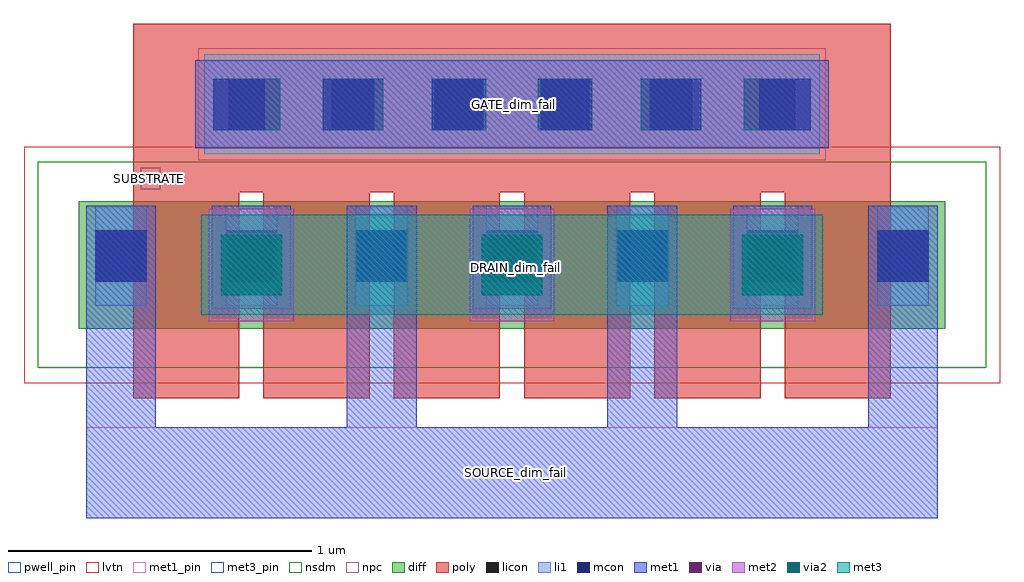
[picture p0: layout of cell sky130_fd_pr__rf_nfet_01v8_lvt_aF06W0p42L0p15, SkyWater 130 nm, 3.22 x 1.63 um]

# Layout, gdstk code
import gdstk
lib = gdstk.Library(unit=1e-6, precision=1e-09)
def R(c, l, rs):  # rectangles x0, y0, x1, y1
    for r in rs: c.add(gdstk.rectangle(r[:2], r[2:], *l))
def A(c, l, x, y, w, h, nx, ny, dx, dy):  # array of equal rectangles
    R(c, l, [(x+i*dx, y+j*dy, x+i*dx+w, y+j*dy+h) for i in range(nx) for j in range(ny)])
def P(c, l, *ps):  # polygons
    for p in ps: c.add(gdstk.Polygon(p, *l))
diff = (65, 20)
poly = (66, 20)
licon = (66, 44)
li1 = (67, 20)
mcon = (67, 44)
met1_pin = (68, 16)
met1 = (68, 20)
via = (68, 44)
met2 = (69, 20)
via2 = (69, 44)
met3_pin = (70, 16)
met3 = (70, 20)
nsdm = (93, 44)
npc = (95, 20)
pwell_pin = (122, 16)
lvtn = (125, 44)

sky130_fd_pr__rf_nfet_01 = lib.new_cell('sky130_fd_pr__rf_nfet_01v8_lvt_aF06W0p42L0p15')
A(sky130_fd_pr__rf_nfet_01, diff, 0.18, 0.18, 0.28, 0.42, 3, 1, 0.43, 0)
A(sky130_fd_pr__rf_nfet_01, diff, 0.21, 0.18, 0.25, 0.42, 4, 1, 0.86, 0)
A(sky130_fd_pr__rf_nfet_01, diff, 0.46, 0.18, 0.15, 0.42, 6, 1, 0.43, 0)
A(sky130_fd_pr__rf_nfet_01, diff, 1.04, 0.18, 0.28, 0.42, 3, 1, 0.43, 0)
A(sky130_fd_pr__rf_nfet_01, diff, 1.9, 0.18, 0.28, 0.42, 3, 1, 0.43, 0)
R(sky130_fd_pr__rf_nfet_01, diff, [(2.76,0.18,3.04,0.6)])
P(sky130_fd_pr__rf_nfet_01, poly, [(0.36,-0.05),(0.36,1.185),(2.86,1.185),(2.86,-0.05),(2.51,-0.05),(2.51,0.63),(2.43,0.63),(2.43,-0.05),(2.08,-0.05),(2.08,0.63),(2,0.63),(2,-0.05),(1.65,-0.05),(1.65,0.63),(1.57,0.63),(1.57,-0.05),(1.22,-0.05),(1.22,0.63),(1.14,0.63),(1.14,-0.05),(0.79,-0.05),(0.79,0.63),(0.71,0.63),(0.71,-0.05)])
A(sky130_fd_pr__rf_nfet_01, licon, 0.235, 0.335, 0.17, 0.17, 7, 1, 0.43, 0)
A(sky130_fd_pr__rf_nfet_01, licon, 0.675, 0.835, 0.17, 0.17, 6, 1, 0.34, 0)
A(sky130_fd_pr__rf_nfet_01, li1, 0.235, 0.255, 0.17, 0.33, 7, 1, 0.43, 0)
R(sky130_fd_pr__rf_nfet_01, li1, [(0.595,0.755,2.625,1.085), (0.625,0.835,2.595,1.005)])
A(sky130_fd_pr__rf_nfet_01, mcon, 0.235, 0.335, 0.17, 0.17, 7, 1, 0.43, 0)
A(sky130_fd_pr__rf_nfet_01, mcon, 0.625, 0.835, 0.17, 0.17, 6, 1, 0.36, 0)
R(sky130_fd_pr__rf_nfet_01, met1_pin, [(0.205,-0.445,3.015,-0.145), (0.565,0.775,2.655,1.065)])
R(sky130_fd_pr__rf_nfet_01, met1, [(0.565,0.775,2.655,1.065)])
A(sky130_fd_pr__rf_nfet_01, via, 0.675, 0.335, 0.15, 0.15, 3, 1, 0.86, 0)
A(sky130_fd_pr__rf_nfet_01, met2, 0.61, 0.205, 0.28, 0.37, 3, 1, 0.86, 0)
A(sky130_fd_pr__rf_nfet_01, via2, 0.65, 0.29, 0.2, 0.2, 3, 1, 0.86, 0)
R(sky130_fd_pr__rf_nfet_01, met3_pin, [(0.585,0.225,2.635,0.555)])
A(sky130_fd_pr__rf_nfet_01, nsdm, 0.21, 0.05, 0.4, 0.68, 6, 1, 0.43, 0)
A(sky130_fd_pr__rf_nfet_01, nsdm, 0.48, 0.05, 0.54, 0.68, 5, 1, 0.43, 0)
R(sky130_fd_pr__rf_nfet_01, nsdm, [(0.045,0.05,0.59,0.73), (2.63,0.05,3.175,0.73)])
R(sky130_fd_pr__rf_nfet_01, npc, [(0.575,0.735,2.645,1.105)])
R(sky130_fd_pr__rf_nfet_01, pwell_pin, [(0.385,0.64,0.45,0.71)])
R(sky130_fd_pr__rf_nfet_01, lvtn, [(0,0,3.22,0.78)])
sky130_fd_pr__rf_nfet_01.add(gdstk.FlexPath([(0.585,0.39),(2.635,0.39)], 0.33, ends="flush", simple_path=True, layer=70, datatype=20))  # met3
sky130_fd_pr__rf_nfet_01.add(gdstk.FlexPath([(2.9,0.585),(2.9,-0.445)], 0.23, ends="flush", simple_path=True, layer=68, datatype=20))  # met1
sky130_fd_pr__rf_nfet_01.add(gdstk.FlexPath([(2.04,0.585),(2.04,-0.445)], 0.23, ends="flush", simple_path=True, layer=68, datatype=20))  # met1
sky130_fd_pr__rf_nfet_01.add(gdstk.FlexPath([(0.205,-0.295),(3.015,-0.295)], 0.3, ends="flush", simple_path=True, layer=68, datatype=20))  # met1
sky130_fd_pr__rf_nfet_01.add(gdstk.FlexPath([(1.18,0.585),(1.18,-0.445)], 0.23, ends="flush", simple_path=True, layer=68, datatype=20))  # met1
sky130_fd_pr__rf_nfet_01.add(gdstk.FlexPath([(2.47,0.585),(2.47,0.245)], 0.26, ends="flush", simple_path=True, layer=68, datatype=20))  # met1
sky130_fd_pr__rf_nfet_01.add(gdstk.FlexPath([(1.61,0.585),(1.61,0.245)], 0.26, ends="flush", simple_path=True, layer=68, datatype=20))  # met1
sky130_fd_pr__rf_nfet_01.add(gdstk.FlexPath([(0.75,0.585),(0.75,0.245)], 0.26, ends="flush", simple_path=True, layer=68, datatype=20))  # met1
sky130_fd_pr__rf_nfet_01.add(gdstk.FlexPath([(0.32,0.585),(0.32,-0.445)], 0.23, ends="flush", simple_path=True, layer=68, datatype=20))  # met1
sky130_fd_pr__rf_nfet_01.add(gdstk.Label('DRAIN_dim_fail', (1.62,0.38), layer=70, texttype=16))
sky130_fd_pr__rf_nfet_01.add(gdstk.Label('SOURCE_dim_fail', (1.62,-0.295), layer=68, texttype=16))
sky130_fd_pr__rf_nfet_01.add(gdstk.Label('GATE_dim_fail', (1.615,0.92), layer=68, texttype=16))
sky130_fd_pr__rf_nfet_01.add(gdstk.Label('SUBSTRATE', (0.415,0.675), layer=64, texttype=59))

lib.write_gds('sky130_fd_pr__rf_nfet_01v8_lvt_aF06W0p42L0p15.gds')
